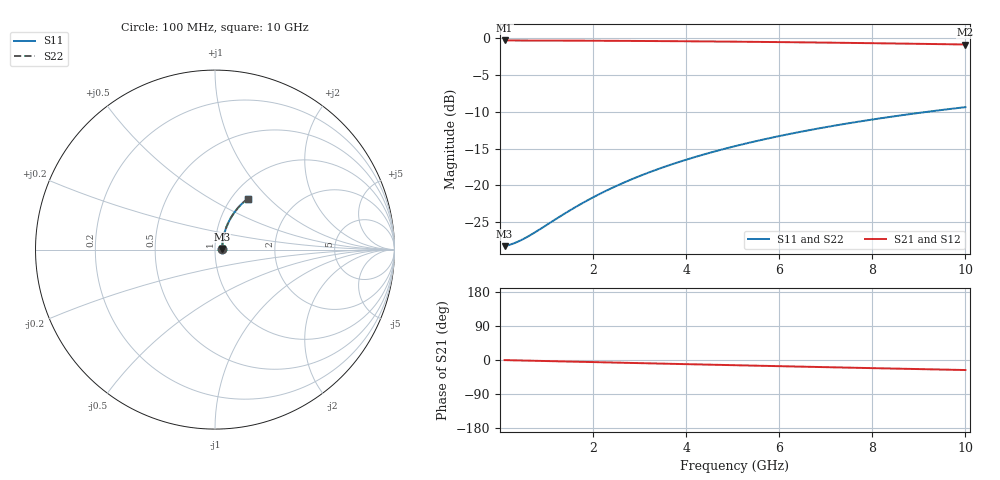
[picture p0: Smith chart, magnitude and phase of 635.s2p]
# Hz S RI R 50.00
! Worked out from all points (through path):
!   100 points, 100 MHz to 10 GHz, reference 50 ohm
!   highest |S21| = -0.34 dB at 100 MHz (marker M1); lowest = -0.9 dB at 10 GHz (marker M2)
!   group delay of S21, straight-line fit = 7.37 ps
!   lowest |S11| = -28.2 dB at 100 MHz (marker M3), VSWR 1.08, Z = 54 + j0.375 ohm
!   |S11| at or under -10 dB: start of sweep to 9.206 GHz
!   |S22| runs from -28.2 to -9.4 dB; largest |S21 - S12| = 0
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1e8  0.0386 0.00346  0.9614 -0.00463  0.9614 -0.00463  0.0386 0.00346
2e8  0.0389 0.00692  0.9611 -0.00926  0.9611 -0.00926  0.0389 0.00692
3e8  0.0391 0.0104  0.9609 -0.0139  0.9609 -0.0139  0.0391 0.0104
4e8  0.0394 0.0138  0.9606 -0.0185  0.9606 -0.0185  0.0394 0.0138
6e8  0.04 0.0207  0.96 -0.0277  0.96 -0.0277  0.04 0.0207
8e8  0.0406 0.0276  0.9593 -0.0369  0.9593 -0.0369  0.0406 0.0276
1.4e9  0.0432 0.0481  0.9566 -0.0645  0.9566 -0.0645  0.0432 0.0481
1.8e9  0.0455 0.0617  0.9542 -0.0827  0.9542 -0.0827  0.0455 0.0617
2.2e9  0.0483 0.0752  0.9513 -0.1008  0.9513 -0.1008  0.0483 0.0752
2.6e9  0.0516 0.0885  0.9479 -0.1188  0.9479 -0.1188  0.0516 0.0885
3e9  0.0554 0.1016  0.9439 -0.1366  0.9439 -0.1366  0.0554 0.1016
3.4e9  0.0596 0.1145  0.9395 -0.1542  0.9395 -0.1542  0.0596 0.1145
3.8e9  0.0644 0.1272  0.9346 -0.1716  0.9346 -0.1716  0.0644 0.1272
4.2e9  0.0695 0.1397  0.9292 -0.1888  0.9292 -0.1888  0.0695 0.1397
4.6e9  0.0751 0.1519  0.9234 -0.2057  0.9234 -0.2057  0.0751 0.1519
5.1e9  0.0827 0.1668  0.9154 -0.2265  0.9154 -0.2265  0.0827 0.1668
5.9e9  0.0962 0.1897  0.9014 -0.2587  0.9014 -0.2587  0.0962 0.1897
6.7e9  0.1111 0.2113  0.8857 -0.2897  0.8857 -0.2897  0.1111 0.2113
7.5e9  0.1273 0.2314  0.8687 -0.3193  0.8687 -0.3193  0.1273 0.2314
8.4e9  0.147 0.2523  0.848 -0.3508  0.848 -0.3508  0.147 0.2523
9.2e9  0.1655 0.2693  0.8285 -0.3772  0.8285 -0.3772  0.1655 0.2693
1e10  0.1848 0.2846  0.808 -0.4021  0.808 -0.4021  0.1848 0.2846
